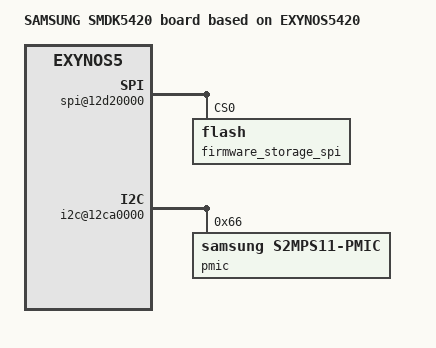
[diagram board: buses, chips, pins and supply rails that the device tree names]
/*
 * SAMSUNG SMDK5420 board device tree source
 *
 * Copyright (c) 2013 The Chromium OS Authors. All rights reserved.
 * Use of this source code is governed by a BSD-style license that can be
 * found in the LICENSE file.
 */

/dts-v1/;
/include/ "exynos54xx.dtsi"
/include/ "flashmap-exynos-ro.dtsi"
/include/ "flashmap-4mb-rw.dtsi"
/include/ "chromeos-exynos.dtsi"
/ {
	model = "SAMSUNG SMDK5420 board based on EXYNOS5420";
	compatible = "samsung,smdk5420", "samsung,exynos5";

	config {
		hwid = "smdk5420 TEST A-A 9382";
	};

	spi@12d20000 { /* spi0 */
		spi-max-frequency = <50000000>;
		firmware_storage_spi: flash@0 {
			reg = <0>;
		};
	};

	aliases {
		serial0 = "/serial@12C30000";
		console = "/serial@12C30000";
	};

	tmu@10060000 {
		samsung,min-temp	= <25>;
		samsung,max-temp	= <125>;
		samsung,start-warning	= <95>;
		samsung,start-tripping	= <105>;
		samsung,hw-tripping	= <110>;
		samsung,efuse-min-value	= <40>;
		samsung,efuse-value	= <55>;
		samsung,efuse-max-value	= <100>;
		samsung,slope		= <274761730>;
		samsung,dc-value	= <25>;
	};

	/* s2mps11 is on i2c bus 4 */
	i2c@12ca0000 {
		#address-cells = <1>;
		#size-cells = <0>;
		pmic@66 {
			reg = <0x66>;
			compatible = "samsung,s2mps11-pmic";
		};
	};

	fimd@14400000 {
		samsung,vl-freq = <60>;
		samsung,vl-col = <2560>;
		samsung,vl-row = <1600>;
		samsung,vl-width = <2560>;
		samsung,vl-height = <1600>;

		samsung,vl-clkp;
		samsung,vl-dp;
		samsung,vl-bpix = <4>;

		samsung,vl-hspw = <32>;
		samsung,vl-hbpd = <80>;
		samsung,vl-hfpd = <48>;
		samsung,vl-vspw = <6>;
		samsung,vl-vbpd = <37>;
		samsung,vl-vfpd = <3>;
		samsung,vl-cmd-allow-len = <0xf>;

		samsung,winid = <3>;
		samsung,interface-mode = <1>;
		samsung,dp-enabled = <1>;
		samsung,dual-lcd-enabled = <0>;
	};

	dmc {
		mem-type = "lpddr3";
	};
};
